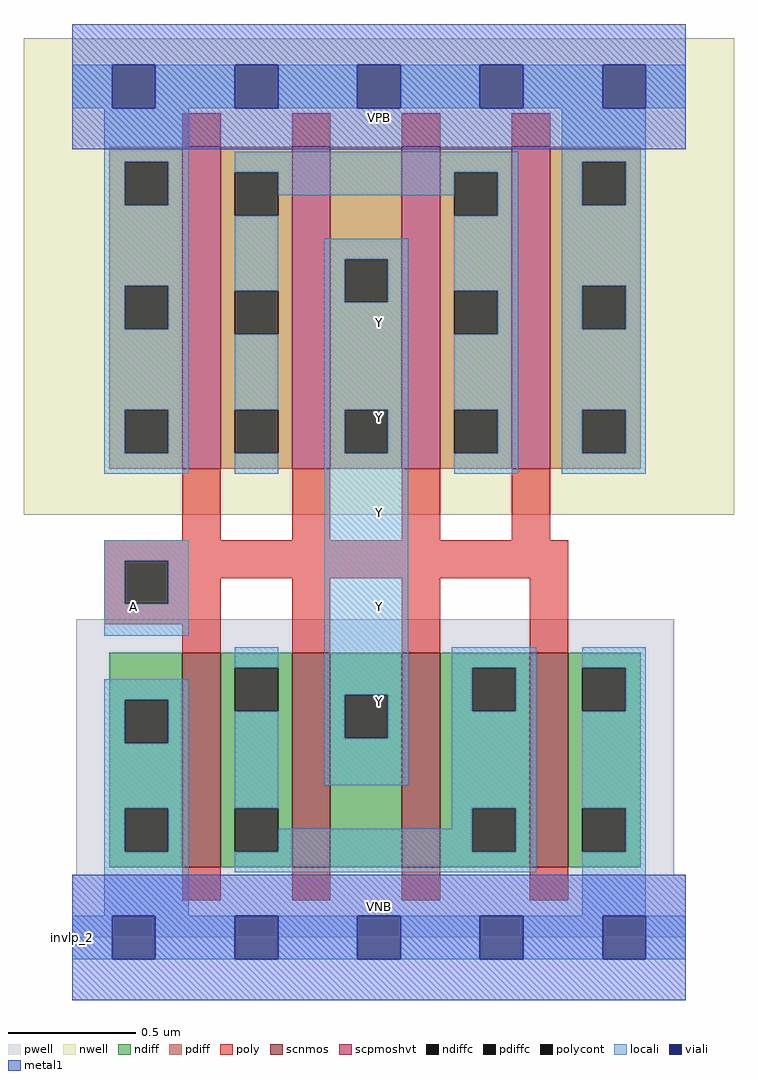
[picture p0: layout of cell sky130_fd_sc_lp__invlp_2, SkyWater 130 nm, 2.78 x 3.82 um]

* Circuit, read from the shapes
.subckt sky130_fd_sc_lp__invlp_2 A VGND VNB VPB VPWR Y
XM1 n1 A VGND VNB sky130_fd_pr__nfet_01v8 w=0.84 l=0.15 m=2
XM2 Y A n1 VNB sky130_fd_pr__nfet_01v8 w=0.84 l=0.15 m=2
XM3 n2 A VPWR VPB sky130_fd_pr__pfet_01v8_hvt w=1.26 l=0.15 m=2
XM4 Y A n2 VPB sky130_fd_pr__pfet_01v8_hvt w=1.26 l=0.15 m=2
.ends

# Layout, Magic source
magic
tech sky130A
magscale 1 2
<< nwell >>
rect -38 331 518 704
<< pwell >>
rect 3 49 471 249
rect 0 0 480 49
<< scnmos >>
rect 86 55 116 223
rect 172 55 202 223
rect 258 55 288 223
rect 358 55 388 223
<< scpmoshvt >>
rect 86 367 116 619
rect 172 367 202 619
rect 258 367 288 619
rect 344 367 374 619
<< ndiff >>
rect 29 186 86 223
rect 29 152 41 186
rect 75 152 86 186
rect 29 101 86 152
rect 29 67 41 101
rect 75 67 86 101
rect 29 55 86 67
rect 116 211 172 223
rect 116 177 127 211
rect 161 177 172 211
rect 116 101 172 177
rect 116 67 127 101
rect 161 67 172 101
rect 116 55 172 67
rect 202 190 258 223
rect 202 156 213 190
rect 247 156 258 190
rect 202 55 258 156
rect 288 211 358 223
rect 288 177 313 211
rect 347 177 358 211
rect 288 101 358 177
rect 288 67 313 101
rect 347 67 358 101
rect 288 55 358 67
rect 388 211 445 223
rect 388 177 399 211
rect 433 177 445 211
rect 388 101 445 177
rect 388 67 399 101
rect 433 67 445 101
rect 388 55 445 67
<< pdiff >>
rect 29 607 86 619
rect 29 573 41 607
rect 75 573 86 607
rect 29 510 86 573
rect 29 476 41 510
rect 75 476 86 510
rect 29 413 86 476
rect 29 379 41 413
rect 75 379 86 413
rect 29 367 86 379
rect 116 599 172 619
rect 116 565 127 599
rect 161 565 172 599
rect 116 506 172 565
rect 116 472 127 506
rect 161 472 172 506
rect 116 413 172 472
rect 116 379 127 413
rect 161 379 172 413
rect 116 367 172 379
rect 202 531 258 619
rect 202 497 213 531
rect 247 497 258 531
rect 202 413 258 497
rect 202 379 213 413
rect 247 379 258 413
rect 202 367 258 379
rect 288 599 344 619
rect 288 565 299 599
rect 333 565 344 599
rect 288 506 344 565
rect 288 472 299 506
rect 333 472 344 506
rect 288 413 344 472
rect 288 379 299 413
rect 333 379 344 413
rect 288 367 344 379
rect 374 607 445 619
rect 374 573 399 607
rect 433 573 445 607
rect 374 510 445 573
rect 374 476 399 510
rect 433 476 445 510
rect 374 413 445 476
rect 374 379 399 413
rect 433 379 445 413
rect 374 367 445 379
<< ndiffc >>
rect 41 152 75 186
rect 41 67 75 101
rect 127 177 161 211
rect 127 67 161 101
rect 213 156 247 190
rect 313 177 347 211
rect 313 67 347 101
rect 399 177 433 211
rect 399 67 433 101
<< pdiffc >>
rect 41 573 75 607
rect 41 476 75 510
rect 41 379 75 413
rect 127 565 161 599
rect 127 472 161 506
rect 127 379 161 413
rect 213 497 247 531
rect 213 379 247 413
rect 299 565 333 599
rect 299 472 333 506
rect 299 379 333 413
rect 399 573 433 607
rect 399 476 433 510
rect 399 379 433 413
<< poly >>
rect 86 619 116 645
rect 172 619 202 645
rect 258 619 288 645
rect 344 619 374 645
rect 86 311 116 367
rect 172 311 202 367
rect 258 311 288 367
rect 344 311 374 367
rect 25 295 388 311
rect 25 261 41 295
rect 75 281 388 295
rect 75 261 116 281
rect 25 245 116 261
rect 86 223 116 245
rect 172 223 202 281
rect 258 223 288 281
rect 358 223 388 281
rect 86 29 116 55
rect 172 29 202 55
rect 258 29 288 55
rect 358 29 388 55
<< polycont >>
rect 41 261 75 295
<< locali >>
rect 0 649 31 683
rect 65 649 127 683
rect 161 649 223 683
rect 257 649 319 683
rect 353 649 415 683
rect 449 649 480 683
rect 25 607 91 649
rect 25 573 41 607
rect 75 573 91 607
rect 25 510 91 573
rect 25 476 41 510
rect 75 476 91 510
rect 25 413 91 476
rect 25 379 41 413
rect 75 379 91 413
rect 25 363 91 379
rect 127 599 349 615
rect 161 581 299 599
rect 127 506 161 565
rect 333 565 349 599
rect 127 413 161 472
rect 127 363 161 379
rect 197 531 263 547
rect 197 497 213 531
rect 247 497 263 531
rect 197 413 263 497
rect 197 379 213 413
rect 247 379 263 413
rect 25 295 91 311
rect 25 261 41 295
rect 75 261 91 295
rect 25 236 91 261
rect 127 211 161 227
rect 25 186 91 202
rect 25 152 41 186
rect 75 152 91 186
rect 25 101 91 152
rect 25 67 41 101
rect 75 67 91 101
rect 25 17 91 67
rect 127 101 161 177
rect 197 190 263 379
rect 299 506 349 565
rect 333 472 349 506
rect 299 413 349 472
rect 333 379 349 413
rect 299 363 349 379
rect 383 607 449 649
rect 383 573 399 607
rect 433 573 449 607
rect 383 510 449 573
rect 383 476 399 510
rect 433 476 449 510
rect 383 413 449 476
rect 383 379 399 413
rect 433 379 449 413
rect 383 363 449 379
rect 197 156 213 190
rect 247 156 263 190
rect 197 119 263 156
rect 297 211 363 227
rect 297 177 313 211
rect 347 177 363 211
rect 297 101 363 177
rect 297 85 313 101
rect 161 67 313 85
rect 347 67 363 101
rect 127 51 363 67
rect 399 211 449 227
rect 433 177 449 211
rect 399 101 449 177
rect 433 67 449 101
rect 399 17 449 67
rect 0 -17 31 17
rect 65 -17 127 17
rect 161 -17 223 17
rect 257 -17 319 17
rect 353 -17 415 17
rect 449 -17 480 17
<< viali >>
rect 31 649 65 683
rect 127 649 161 683
rect 223 649 257 683
rect 319 649 353 683
rect 415 649 449 683
rect 31 -17 65 17
rect 127 -17 161 17
rect 223 -17 257 17
rect 319 -17 353 17
rect 415 -17 449 17
<< metal1 >>
rect 0 683 480 715
rect 0 649 31 683
rect 65 649 127 683
rect 161 649 223 683
rect 257 649 319 683
rect 353 649 415 683
rect 449 649 480 683
rect 0 617 480 649
rect 0 17 480 49
rect 0 -17 31 17
rect 65 -17 127 17
rect 161 -17 223 17
rect 257 -17 319 17
rect 353 -17 415 17
rect 449 -17 480 17
rect 0 -49 480 -17
<< labels >>
flabel pwell s 0 0 480 49 0 FreeSans 200 0 0 0 VNB
port 3 nsew ground bidirectional
flabel nwell s 0 617 480 666 0 FreeSans 200 0 0 0 VPB
port 4 nsew power bidirectional
rlabel comment s 0 0 0 0 4 invlp_2
flabel metal1 s 0 617 480 666 0 FreeSans 340 0 0 0 VPWR
port 5 nsew power bidirectional
flabel metal1 s 0 0 480 49 0 FreeSans 340 0 0 0 VGND
port 2 nsew ground bidirectional
flabel locali s 223 168 257 202 0 FreeSans 340 0 0 0 Y
port 6 nsew signal output
flabel locali s 223 242 257 276 0 FreeSans 340 0 0 0 Y
port 6 nsew signal output
flabel locali s 223 316 257 350 0 FreeSans 340 0 0 0 Y
port 6 nsew signal output
flabel locali s 223 390 257 424 0 FreeSans 340 0 0 0 Y
port 6 nsew signal output
flabel locali s 223 464 257 498 0 FreeSans 340 0 0 0 Y
port 6 nsew signal output
flabel locali s 31 242 65 276 0 FreeSans 340 0 0 0 A
port 1 nsew signal input
<< properties >>
string LEFsite unit
string LEFclass CORE
string FIXED_BBOX 0 0 480 666
string GDS_FILE $PDKPATH/libs.ref/sky130_fd_sc_lp/gds/sky130_fd_sc_lp.gds
string LEFsymmetry X Y R90
string GDS_END 6841172
string GDS_START 6836050
<< end >>
